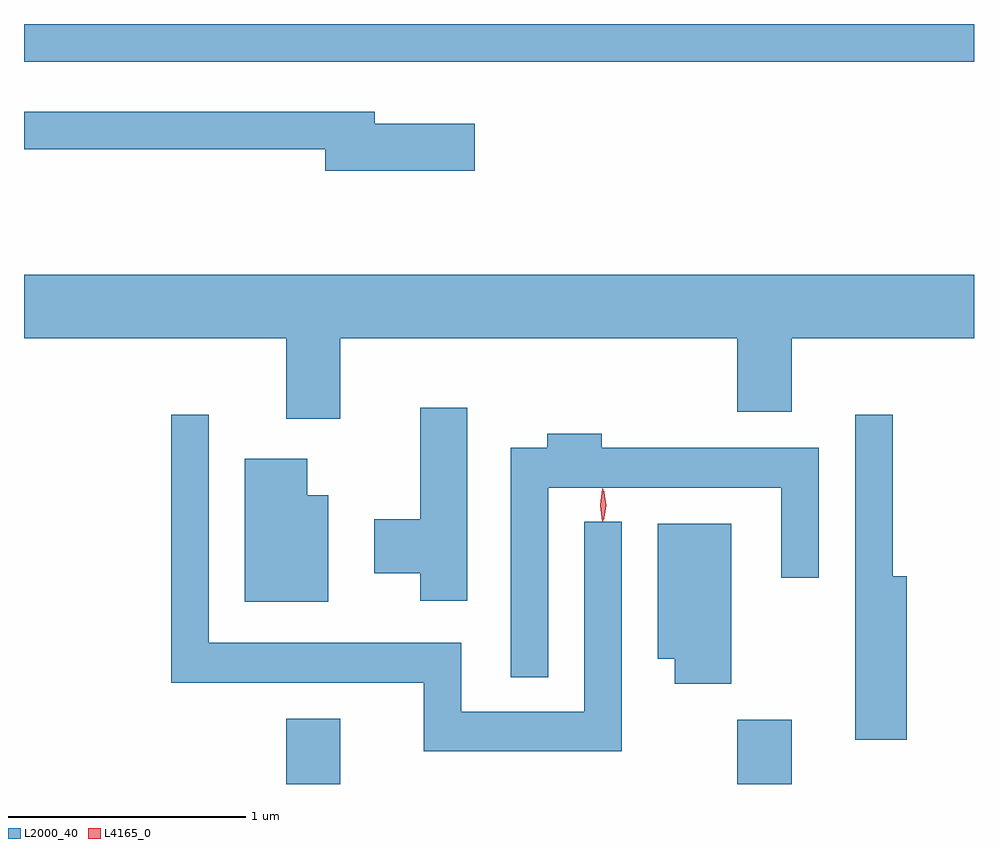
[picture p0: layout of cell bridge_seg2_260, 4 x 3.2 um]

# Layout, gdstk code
import gdstk
lib = gdstk.Library(unit=1e-6, precision=1e-09)
def R(c, l, rs):  # rectangles x0, y0, x1, y1
    for r in rs: c.add(gdstk.rectangle(r[:2], r[2:], *l))
def P(c, l, *ps):  # polygons
    for p in ps: c.add(gdstk.Polygon(p, *l))
L2000_40 = (2000, 40)
L4165_0 = (4165, 0)

bridge_seg2_260 = lib.new_cell('bridge_seg2_260')
R(bridge_seg2_260, L2000_40, [(645.411,1101.939,645.639,1102.214), (647.311,1101.939,647.539,1102.209), (644.307,1104.981,648.307,1105.139)])
P(bridge_seg2_260, L2000_40, [(646.204,1104.719),(645.784,1104.719),(645.784,1104.769),(644.307,1104.769),(644.307,1104.611),(645.576,1104.611),(645.576,1104.521),(646.204,1104.521)],
  [(645.639,1103.816),(647.311,1103.816),(647.311,1103.506),(647.539,1103.506),(647.539,1103.816),(648.307,1103.816),(648.307,1104.084),(644.307,1104.084),(644.307,1103.816),(645.411,1103.816),(645.411,1103.476),(645.639,1103.476)],
  [(646.174,1103.524),(645.976,1103.524),(645.976,1103.054),(645.781,1103.054),(645.781,1102.826),(645.976,1102.826),(645.976,1102.711),(646.174,1102.711)],
  [(648.024,1102.814),(647.964,1102.814),(647.964,1103.493),(647.806,1103.493),(647.806,1102.126),(648.024,1102.126)],
  [(646.824,1103.043),(646.666,1103.043),(646.666,1102.244),(646.149,1102.244),(646.149,1102.534),(645.084,1102.534),(645.084,1103.493),(644.926,1103.493),(644.926,1102.366),(645.991,1102.366),(645.991,1102.076),(646.824,1102.076)],
  [(646.514,1103.186),(647.496,1103.186),(647.496,1102.808),(647.654,1102.808),(647.654,1103.354),(646.739,1103.354),(646.739,1103.414),(646.511,1103.414),(646.511,1103.354),(646.356,1103.354),(646.356,1102.388),(646.514,1102.388)],
  [(645.589,1103.154),(645.499,1103.154),(645.499,1103.309),(645.236,1103.309),(645.236,1102.706),(645.589,1102.706)],
  [(647.284,1103.034),(646.976,1103.034),(646.976,1102.466),(647.046,1102.466),(647.046,1102.361),(647.284,1102.361)])
P(bridge_seg2_260, L4165_0, [(646.747,1103.047),(646.738,1103.113),(646.747,1103.18),(646.748,1103.18),(646.748,1103.18),(646.758,1103.113),(646.748,1103.047),(646.748,1103.047)],
  [(646.743,1103.043),(646.742,1103.044),(646.733,1103.113),(646.742,1103.182),(646.743,1103.183),(646.743,1103.182),(646.753,1103.113),(646.743,1103.044)])

lib.write_gds('bridge_seg2_260.gds')
